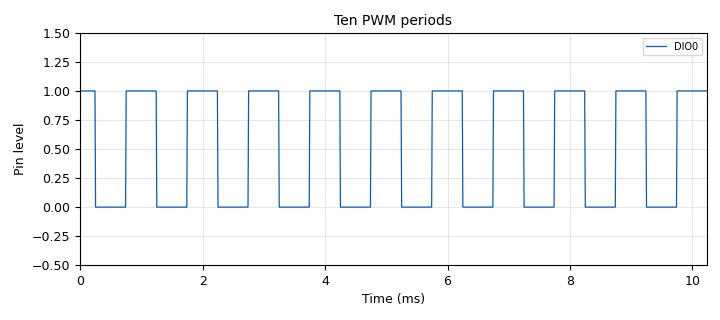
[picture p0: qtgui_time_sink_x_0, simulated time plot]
options:
  parameters:
    author: GRCon26 workshop
    comment: |-
      Same wiring as the blinky: LED anode to DIO0, cathode to GND.

      The pin is still only ever 0 or 1. What changes is the fraction of each millisecond it spends at 1, and your eye does the averaging -- which makes a one-bit output into a brightness control.

      PWM here is not a block. It is a ramp and a comparator: the pin is on while the ramp is below the duty setting. Drag the slider and watch the pulse on the scope get wider at the same time the LED gets brighter.
    description: PWM brightness on DIO0, built from a ramp and a comparator.
    generate_options: qt_gui
    id: m2k_led_pwm
    output_language: python
    title: M2K LED PWM - brightness from one pin
  states: {}

blocks:
- name: samp_rate
  id: variable
  parameters:
    value: '100000'
  states: {}
- name: pwm_hz
  id: variable
  parameters:
    comment: samp_rate / pwm_hz is 100 samples per period, so the duty resolution is 1% and nothing finer than that exists. Fast enough that no one sees it flicker; slow enough that 1% is a whole sample.
    value: '1000'
  states: {}
- name: duty
  id: variable_qtgui_range
  parameters:
    label: Duty cycle (0 to 1)
    start: '0'
    step: '0.01'
    stop: '1'
    value: '0.5'
  states: {}
- name: analog_sig_source_x_0
  id: analog_sig_source_x
  parameters:
    amp: '-1'
    comment: A descending ramp, 0 down to -0.99. Negative amplitude is what makes it descend, and descending is what makes duty read the right way round.
    freq: pwm_hz
    offset: '0'
    phase: '0'
    samp_rate: samp_rate
    type: float
    waveform: analog.GR_SAW_WAVE
  states: {}
- name: blocks_add_const_vxx_0
  id: blocks_add_const_vxx
  parameters:
    comment: duty minus the ramp. Positive while the ramp is still below duty, which is the comparison the next block turns into a pin level.
    const: duty
    type: float
  states: {}
- name: blocks_threshold_ff_0
  id: blocks_threshold_ff
  parameters:
    comment: The comparator. Both thresholds at zero, so there is no hysteresis and no dead band -- out is 1.0 above zero and 0.0 below it.
    high: '0'
    init: '0'
    low: '0'
  states: {}
- name: blocks_float_to_short_0
  id: blocks_float_to_short
  parameters:
    scale: '1'
  states: {}
- name: m2k_digital_sink_0
  id: m2k_digital_sink
  parameters:
    buffer_size: '16384'
    cyclic: 'False'
    drive: '''push-pull'''
    idle_level: '''low'''
    name0: LED
    name1: ''
    name10: ''
    name11: ''
    name12: ''
    name13: ''
    name14: ''
    name15: ''
    name2: ''
    name3: ''
    name4: ''
    name5: ''
    name6: ''
    name7: ''
    name8: ''
    name9: ''
    num_lines: '1'
    pin0: '0'
    pin1: '1'
    pin10: '10'
    pin11: '11'
    pin12: '12'
    pin13: '13'
    pin14: '14'
    pin15: '15'
    pin2: '2'
    pin3: '3'
    pin4: '4'
    pin5: '5'
    pin6: '6'
    pin7: '7'
    pin8: '8'
    pin9: '9'
    sample_rate: '100000'
    uri: ip:192.168.2.1
  states: {}
- name: blocks_short_to_float_0
  id: blocks_short_to_float
  parameters:
    comment: 1024 samples at 100 kS/s is ten PWM periods, so the scope needs no decimation here -- unlike the blinky, where the interesting thing is seconds long.
    scale: '1'
  states: {}
- name: qtgui_time_sink_x_0
  id: qtgui_time_sink_x
  parameters:
    grid: 'True'
    label1: DIO0
    name: '"Ten PWM periods"'
    size: '1024'
    srate: samp_rate
    type: float
    ylabel: Pin level
    ymax: '1.5'
    ymin: '-0.5'
  states: {}

connections:
- [analog_sig_source_x_0, '0', blocks_add_const_vxx_0, '0']
- [blocks_add_const_vxx_0, '0', blocks_threshold_ff_0, '0']
- [blocks_threshold_ff_0, '0', blocks_float_to_short_0, '0']
- [blocks_float_to_short_0, '0', m2k_digital_sink_0, '0']
- [blocks_float_to_short_0, '0', blocks_short_to_float_0, '0']
- [blocks_short_to_float_0, '0', qtgui_time_sink_x_0, '0']

metadata:
  file_format: 1
  grc_version: 3.10.9.2
